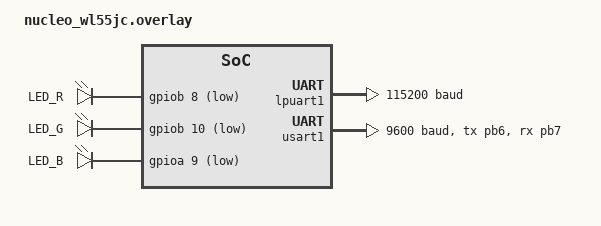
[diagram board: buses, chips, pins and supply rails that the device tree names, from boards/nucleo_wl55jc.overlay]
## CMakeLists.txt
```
cmake_minimum_required(VERSION 3.20.0)
find_package(Zephyr REQUIRED HINTS $ENV{ZEPHYR_BASE})
project(mma8451_test)

target_sources(app PRIVATE 
        src/main.c
        src/rgbChange.c
        src/gpsToHuman.c
        measures/rgb.c
        measures/accelerometer.c
        measures/temperature.c
        measures/gps.c
        measures/soil.c
        measures/brightness.c
        measures/distance.c
        )
```

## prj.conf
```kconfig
CONFIG_I2C=y
CONFIG_ADC=y
CONFIG_SERIAL=y
CONFIG_PRINTK=y
CONFIG_ADC_STM32=y
CONFIG_STDOUT_CONSOLE=y
CONFIG_TIMING_FUNCTIONS=y
CONFIG_MAIN_STACK_SIZE=2048
CONFIG_CBPRINTF_FP_SUPPORT=y
CONFIG_UART_INTERRUPT_DRIVEN=y
```

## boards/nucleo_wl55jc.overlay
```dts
/ {
    zephyr,console = &lpuart1;
    zephyr,shell-uart = &lpuart1;
    zephyr,uart-mcumgr = &lpuart1;

    /* ===== RGB LED (GPIO-based, common-anode, ACTIVE_LOW) ===== */
    leds {
        compatible = "gpio-leds";

        /* RED: CN9.D5 = PB8 */
        led_r: led_r {
            gpios = <&gpiob 8 GPIO_ACTIVE_LOW>;
            label = "LED_R";
        };

        /* GREEN: CN9.D6 = PB10 */
        led_g: led_g {
            gpios = <&gpiob 10 GPIO_ACTIVE_LOW>;
            label = "LED_G";
        };

        /* BLUE: CN5.D9 = PA9 */
        led_b: led_b {
            gpios = <&gpioa 9 GPIO_ACTIVE_LOW>;
            label = "LED_B";
        };
    };

    /* Aliases for C code */
    aliases {
        ledr = &led_r;
        ledg = &led_g;
        ledb = &led_b;
    };
};

/* ===== Console UART ===== */
&lpuart1 {
    status = "okay";
    current-speed = <115200>;
};

/* ===== GPS UART ===== */
&usart1 {
    status = "okay";
    current-speed = <9600>;
    pinctrl-0 = <&usart1_tx_pb6 &usart1_rx_pb7>;
    pinctrl-names = "default";
};
```

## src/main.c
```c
#include "connector.h"
#define nucleoLedB DT_ALIAS(led2)
#define nucleoLedG DT_ALIAS(led1)
#define nucleoLedR DT_ALIAS(led0)

// ===================   BUTTON   ===================

bool buttonWasPressed = false;
const struct gpio_dt_spec button = GPIO_DT_SPEC_GET_OR(DT_ALIAS(sw1),gpios, {0});
struct gpio_callback button_cb_data;

// =================== BUTTON END ===================


    // ===================   RGB_LEDS   ===================

const struct gpio_dt_spec led_r = GPIO_DT_SPEC_GET(DT_ALIAS(ledr), gpios);
const struct gpio_dt_spec led_g = GPIO_DT_SPEC_GET(DT_ALIAS(ledg), gpios);
const struct gpio_dt_spec led_b = GPIO_DT_SPEC_GET(DT_ALIAS(ledb), gpios);

    // =================== RGB_LEDS END ===================


// ===================   COMMUNICATION   ===================

const struct device *i2c;
const struct device *uart;
const struct device *adc;
const struct device *port;
struct measDataQueue gpsMsg;

// =================== COMMUNICATION END ===================

    // ===================   SENSOR VALUES   ===================

float axisX;
float axisY;
float axisZ;
float lightValue;
uint16_t clear;
uint16_t red;
uint16_t blue;
uint16_t green;
float soilValue;
float tempValue;
float humValue;
int16_t soilRawVal;
int16_t brightnessRawVal;
uint32_t distanceVal;

    // =================== SENSOR VALUES END ===================

// ===================   LIMITS   ===================

const float tempLimits[2]  = {-10.0f, 50.0f};
const float humLimits[2]   = {25.0f, 75.0f};
const float lightLimits[2] = {3.0f, 15.0f};
const float soilLimits[2]  = {70.2f,95.0f};
const float rgbLimit[3][2] = {
    {2500.0f,4500.0f},   //r
    {3500.0f,5500.0f},   //g
    {800.0f,2800.0f}    //b
    // such values when clear is ≈ 10.500
};
const float accelerometerLimit[3][2] = {
    {0.0f,1.0f},    //x
    {8.5f,10.5f},   //y
    {0.0f,2.0f}     //z
};

// =================== LIMITS END ===================

    // =================== NORMAL MODE ===================
struct {
    float minimumVal;
    float sumForMean;
    float meanVal;
    float maximumVal;
} tempNormalMode = { 0 };

struct {
    float minimumVal;
    float sumForMean;
    float meanVal;
    float maximumVal;
} humidityNormalMode = { 0 };

struct {
    float minimumVal;
    float sumForMean;
    float meanVal;
    float maximumVal;
} lightNormalMode = { 0 };

struct {
    float minimumVal;
    float sumForMean;
    float meanVal;
    float maximumVal;
} soilNormalMode = { 0 };

struct {
    float xMaximum;
    float xMinimum;
    float yMaximum;
    float yMinimum;
    float zMaximum;
    float zMinimum;
} accNormalMode = { 0 };

int rgbDominant[3] = {0};


    // =================== NORMAL MODE FINISHED ===================


struct adc_channel_cfg soilCfg;
struct adc_sequence soilSeq;
struct adc_channel_cfg brightnessCfg;
struct adc_sequence brightnessSeq;


enum Mode {TEST, NORMAL, ADVANCED};
enum Mode mode = TEST;
int modeCount=1;

bool permission = true;
bool newStart = true;

K_MSGQ_DEFINE(messageQueue, sizeof(struct measDataQueue), 8, 4);

int soilError;
int lightError;
uint8_t whoAmI;
uint8_t reg = 0x92;

void rgbLedInit() {

    gpio_pin_configure_dt(&led_r, GPIO_OUTPUT_INACTIVE);
    gpio_pin_configure_dt(&led_g, GPIO_OUTPUT_INACTIVE);
    gpio_pin_configure_dt(&led_b, GPIO_OUTPUT_INACTIVE);
}

void i2cInit() {

    i2c = DEVICE_DT_GET(DT_NODELABEL(i2c2));
}

void uartInit() {

    uart = DEVICE_DT_GET(DT_NODELABEL(usart1));
}

void adcInit() {
    
    soilRawVal = 0;

    adc = DEVICE_DT_GET(DT_NODELABEL(adc1));


     soilCfg = (struct adc_channel_cfg){
        .gain             = ADC_GAIN_1,
        .reference        = ADC_REF_INTERNAL,
        .acquisition_time = ADC_ACQ_TIME_DEFAULT,
        .channel_id       = soilAdcChannel,
        .differential     = 0,
    };

    soilError = adc_channel_setup(adc, &soilCfg);


    soilSeq = (struct adc_sequence){
    .channels    = BIT(soilAdcChannel),
    .buffer      = &soilRawVal,
    .buffer_size = sizeof(soilRawVal),
    .resolution  = adcRes,          
    };


    brightnessRawVal = 0;

    brightnessCfg = (struct adc_channel_cfg){
        .gain             = ADC_GAIN_1,
        .reference        = ADC_REF_INTERNAL,
        .acquisition_time = ADC_ACQ_TIME_DEFAULT,
        .channel_id       = brightAdcChannel,
        .differential     = 0,
    };

    lightError = adc_channel_setup(adc, &brightnessCfg);


    brightnessSeq = (struct adc_sequence){
        .channels    = BIT(brightAdcChannel),
        .buffer      = &brightnessRawVal,
        .buffer_size = sizeof(brightnessRawVal),
        .resolution  = adcRes,
    };
}

uint8_t registers[2];
void registersInput(uint8_t first, uint8_t second) {
    
    registers[0] = first;
    registers[1] = second;
}

void rgbInit(){
    
    registersInput(0x80 | 0x00, 0x01);      // COMMAND BIT | ENABLE & PON
    i2c_write(i2c,registers,sizeof(registers),rgbAddr);
    k_msleep(3);

    registersInput(0x80 | 0x00, 0x3);       // COMMAND BIT | ENABLE & PON | AEN
    i2c_write(i2c,registers,sizeof(registers),rgbAddr);
    
    registersInput(0x80 | 0x01, 0xD5);      // COMMAND BIT | ATIME  & 101ms
    i2c_write(i2c,registers,sizeof(registers),rgbAddr);
}

void accelerometerInit(){
    
    registersInput(0x2A, 0x01);     //CTRL_REG1 & ACTIVE MODE
    i2c_write(i2c,registers,sizeof(registers),accAddr);

    registersInput(0x0E, 0x00);     //DYNAMIC RANGE & ±2g
    i2c_write(i2c,registers,sizeof(registers),accAddr);
}

void distanceInit() {

    // GPIOA from devicetree
    port = DEVICE_DT_GET(DT_NODELABEL(gpioa));
    if (!device_is_ready(port)) {
        printk("GPIOA not ready!\n");
        return;
    }

    // TRIG: PA5
    if (gpio_pin_configure(port, 5 /*PA5*/, GPIO_OUTPUT_INACTIVE)) {
        printk("Cannot configure TRIG\n");
        return;
    }

    // ECHO: PA6
    if (gpio_pin_configure(port, 6 /*PA6*/, GPIO_INPUT)) {
        printk("Cannot configure ECHO\n");
        return;
    }
}

void alertRaise(int sensor) {

    switch (sensor) {
        case 1:
            printk("!!!light alert!!!\n"); 
            break;
        case 2:
            printk("!!!rgb alert!!!\n");
            break;
        case 3:
            printk("!!!accelerometer alert!!!\n");
            break;
        case 4:
            printk("!!!temperature alert!!!\n");
            break;
        case 5:
            printk("!!!humidity alert!!!\n");
            break;
        case 6:
            printk("!!!soil alert!!!\n");
            break;
    }
    rgbChange(sensor);
    k_msleep(250);
    rgbChange(0);
}

void manageData () {

    if (mode == TEST){
        if (red > green && red  >  blue)  rgbChange(1); //red
        if (green > red && green > blue)  rgbChange(2); //green
        if (blue > red  && blue  > green) rgbChange(3); //blue

    }

    else if (mode == NORMAL || mode == ADVANCED) {

        if (newStart) {
            soilNormalMode.maximumVal = soilValue;
            soilNormalMode.minimumVal = soilValue;
            
            lightNormalMode.maximumVal = lightValue;
            lightNormalMode.minimumVal = lightValue;

            accNormalMode.xMaximum = axisX;
            accNormalMode.xMinimum = axisX;
            accNormalMode.yMaximum = axisY;
            accNormalMode.yMinimum = axisY;
            
            accNormalMode.zMaximum = axisZ;
            accNormalMode.zMinimum = axisZ;

            tempNormalMode.maximumVal = tempValue;
            tempNormalMode.minimumVal = tempValue;
            humidityNormalMode.maximumVal = humValue;
            humidityNormalMode.minimumVal = humValue;

        }
        else {
            if      (soilNormalMode.maximumVal < soilValue) soilNormalMode.maximumVal = soilValue;
            else if (soilNormalMode.minimumVal > soilValue) soilNormalMode.minimumVal = soilValue;
            
            if      (lightNormalMode.maximumVal < lightValue) lightNormalMode.maximumVal = lightValue;
            else if (lightNormalMode.minimumVal > lightValue) lightNormalMode.minimumVal = lightValue;

            if      (tempNormalMode.maximumVal < tempValue) tempNormalMode.maximumVal = tempValue;
            else if (tempNormalMode.minimumVal > tempValue) tempNormalMode.minimumVal = tempValue;

            if      (humidityNormalMode.maximumVal < humValue) humidityNormalMode.maximumVal = humValue;
            else if (humidityNormalMode.minimumVal > humValue) humidityNormalMode.minimumVal = humValue;

            if      (accNormalMode.xMaximum < axisX) accNormalMode.xMaximum = axisX;
            else if (accNormalMode.xMinimum > axisX) accNormalMode.xMinimum = axisX;

            if      (accNormalMode.yMaximum < axisY) accNormalMode.yMaximum = axisY;
            else if (accNormalMode.yMinimum > axisY) accNormalMode.yMinimum = axisY;

            if      (accNormalMode.zMaximum < axisZ) accNormalMode.zMaximum = axisZ;
            else if (accNormalMode.zMinimum > axisZ) accNormalMode.zMinimum = axisZ;
        }

        soilNormalMode.sumForMean     += soilValue;
        lightNormalMode.sumForMean    += lightValue;
        tempNormalMode.sumForMean     += tempValue;
        humidityNormalMode.sumForMean += humValue;

        if (red > green && red  >  blue)  rgbDominant[0] +=1; //red
        if (green > red && green > blue)  rgbDominant[1] +=1; //green
        if (blue > red  && blue  > green) rgbDominant[2] +=1; //blue
    }


        printk("SOIL MOISTURE: %.1f%%\n",soilValue);
        printk("Light: %.1f%%\n",lightValue);
        k_msgq_get(&messageQueue,&gpsMsg,K_NO_WAIT);
        if (mode == TEST) gpsToHuman(1); //print is there
        else gpsToHuman(2);
        printk("COLOR SENSOR: Clear: %d Red: %d Green: %d Blue: %d\n", clear,red,green,blue);
        printk("ACCELEROMETERS: X_axis: %.2fm/s², Y_axis: %.2fm/s², Z_axis: %.2fm/s²\n",axisX,axisY,axisZ);
        printk("TEMP/HUM Temperature: %.1f°C,\tRelative Humidity: %.1f%%\n",tempValue,humValue);
        newStart = false;

        if (mode == ADVANCED) {
            printk("Distance: %ucm\n",distanceVal);

        }
        printk("\n\n");
}

void manageAlert(){

    if (lightValue < lightLimits[0] || lightValue > lightLimits[1]) alertRaise(1);
    
    if (red   < rgbLimit[0][0] || red   > rgbLimit[0][1] ||
        green < rgbLimit[1][0] || green > rgbLimit[1][1] ||
        blue  < rgbLimit[2][0] || blue  > rgbLimit[2][1] ) alertRaise(2);

    if (fabsf(axisX) < accelerometerLimit[0][0] || fabsf(axisX) > accelerometerLimit[0][1] ||
        fabsf(axisY) < accelerometerLimit[1][0] || fabsf(axisY) > accelerometerLimit[1][1] ||
        fabsf(axisZ) < accelerometerLimit[2][0] || fabsf(axisZ) > accelerometerLimit[2][1] ) alertRaise(3);

    if (tempValue < tempLimits[0] || tempValue > tempLimits[1]) alertRaise(4);

    if (humValue < humLimits[0] || humValue > humLimits[1]) alertRaise(5);

    if (soilValue < soilLimits[0] || soilValue > soilLimits[1]) alertRaise(6);
}

K_THREAD_DEFINE(gpsThread,512,gpsMeasure,NULL,NULL,NULL,1,0,0);

void measures(){

    brightnessMeasure();

    rgbMeasure();

    accelerometerMeasure();

    temperatureMeasure();

    soilMeasure();

    if (mode == ADVANCED) distanceMeasure();

    while (permission) k_msleep(1);
    manageData();
    if (mode == NORMAL || mode == ADVANCED) manageAlert();
    permission = true;          
}

void testSensors() {

    if (!device_is_ready(led_r.port) ||
    !device_is_ready(led_g.port) ||
    !device_is_ready(led_b.port)) printk("LED ports not ready\n");

    if (!device_is_ready(i2c)) printk("i2c not ready\n");
    

    if (!device_is_ready(uart))printk("uart not ready\n");
    

    if (!device_is_ready(adc)) printk("adc not ready\n");

    whoAmI = 0; 
    i2c_write_read(i2c,rgbAddr,&reg,1,&whoAmI,1);
    if (whoAmI != 0x44) printk("RGB sensor read  error %x\n",whoAmI);
    
    whoAmI = 0; 
    i2c_reg_read_byte(i2c, accAddr, 0x0D, &whoAmI);
    if (whoAmI != 0x1A) printk("accelerometer sensor read error\n");

    if (i2c_reg_read_byte(i2c, tempAndHumidAddr, 0xE7, &whoAmI) != 0) printk("temp & hum read error\n");
}

void everyHourNormalMode (int quantity) {

    printk("\n\nHourly update:\n");

    // NM3
    tempNormalMode.meanVal = tempNormalMode.sumForMean / quantity;
    humidityNormalMode.meanVal = humidityNormalMode.sumForMean / quantity;
    lightNormalMode.meanVal = lightNormalMode.sumForMean / quantity;
    soilNormalMode.meanVal = soilNormalMode.sumForMean / quantity;

    printk("\ttemperature minimum - %.1f°C\n\ttemperature mean - %.1f°C\n\ttemperature maximum - %.1f°C\n\n",tempNormalMode.minimumVal,tempNormalMode.meanVal,tempNormalMode.maximumVal);
    printk("\thumidity minimum - %.1f%%\n\thumidity mean - %.1f%%\n\thumidity maximum - %.1f%%\n\n",humidityNormalMode.minimumVal,humidityNormalMode.meanVal,humidityNormalMode.maximumVal);
    printk("\tlight minimum - %.1f%%\n\tlight mean - %.1f%%\n\tlight maximum - %.1f%%\n\n",lightNormalMode.minimumVal,lightNormalMode.meanVal,lightNormalMode.maximumVal);
    printk("\tsoil minimum - %.1f%%\n\tsoil mean - %.1f%%\n\tsoil maximum - %.1f%%\n",soilNormalMode.minimumVal,soilNormalMode.meanVal,soilNormalMode.maximumVal);


    tempNormalMode.sumForMean = 0;
    humidityNormalMode.sumForMean = 0;
    lightNormalMode.sumForMean = 0;
    soilNormalMode.sumForMean = 0;

    // NM4
    if (rgbDominant[0] > rgbDominant[1] && rgbDominant[0] > rgbDominant[2]) printk("RED was dominant color\n");
    if (rgbDominant[1] > rgbDominant[0] && rgbDominant[1] > rgbDominant[2]) printk("GREEN was dominant color\n");
    if (rgbDominant[2] > rgbDominant[1] && rgbDominant[2] > rgbDominant[0]) printk("BLUE was dominant color\n");
    
    rgbDominant[0] = 0;
    rgbDominant[1] = 0;
    rgbDominant[2] = 0;

    //NM5
    printk("Maximum values of X_axis - %.2fm/s²   Y_axis - %.2fm/s²   Z_axis - %.2fm/s²\n\n",accNormalMode.xMaximum,accNormalMode.yMaximum,accNormalMode.zMaximum);
    printk("Minimum values of X_axis - %.2fm/s²   Y_axis - %.2fm/s²   Z_axis - %.2fm/s²\n",accNormalMode.xMinimum,accNormalMode.yMinimum,accNormalMode.zMinimum);
    newStart = true;
}

void buttonPressed() {

    buttonWasPressed = true;
    modeCount++;
    if (modeCount >= 4) modeCount = 1; 
    if (modeCount==1) mode = TEST;
    else if (modeCount==2) mode = NORMAL;
    else mode = ADVANCED;
}

void buttonInit() {

    gpio_pin_configure_dt(&button,GPIO_INPUT);
    gpio_pin_interrupt_configure_dt(&button,GPIO_INT_EDGE_TO_ACTIVE);
    gpio_init_callback(&button_cb_data, buttonPressed, BIT(button.pin));
    gpio_add_callback(button.port,&button_cb_data);
}

void main(void) {
    rgbLedInit();
    i2cInit();
    uartInit();
    adcInit(); 
    rgbInit();
    accelerometerInit();
    distanceInit();
    buttonInit();

    static const struct gpio_dt_spec blueLed = GPIO_DT_SPEC_GET(nucleoLedB, gpios);
    gpio_pin_configure_dt(&blueLed, GPIO_OUTPUT_INACTIVE);

    static const struct gpio_dt_spec greenLed = GPIO_DT_SPEC_GET(nucleoLedG, gpios);
    gpio_pin_configure_dt(&greenLed, GPIO_OUTPUT_INACTIVE);

    static const struct gpio_dt_spec redLed = GPIO_DT_SPEC_GET(nucleoLedR, gpios);
    gpio_pin_configure_dt(&redLed, GPIO_OUTPUT_INACTIVE);

    while (true) {
        if (mode == TEST) {
            printk("\nTEST MODE\n");
            testSensors();
            gpio_pin_set_dt(&blueLed,1);
            gpio_pin_set_dt(&redLed,0);
            gpio_pin_set_dt(&greenLed,0);

            while (mode == TEST) {
                measures();
                for (int i = 0; i<2000; i++) {
                    if (buttonWasPressed) {
                        buttonWasPressed = false; 
                        break;
                    }
                    k_msleep(1);
                }
            }
        }

        if (mode == NORMAL) {
            rgbChange(0);
            printk("\nNORMAL MODE\n");
            newStart = true;
            gpio_pin_set_dt(&blueLed,0);
            gpio_pin_set_dt(&redLed,0);
            gpio_pin_set_dt(&greenLed,1);
            int quantity = 0;
            int64_t startRegMeasure = k_uptime_get();
            int64_t startHourTimer = k_uptime_get();
            while (mode == NORMAL) {
                measures();
                quantity++;
                if (k_uptime_get() - startHourTimer >= 3600 * MSEC_PER_SEC) {
                    everyHourNormalMode(quantity);
                    quantity = 0;
                    startHourTimer = k_uptime_get();
                } 
                while (k_uptime_get() - startRegMeasure < 30 * MSEC_PER_SEC) {
                    if (buttonWasPressed) {
                        buttonWasPressed = false; 
                        break;  
                    }
                    k_msleep(1);
                }
                startRegMeasure = k_uptime_get();
            }
        }

        if (mode == ADVANCED) {
            rgbChange(0);
            printk("\nADVANCED MODE\n");
            gpio_pin_set_dt(&blueLed,0);
            gpio_pin_set_dt(&redLed,1);
            gpio_pin_set_dt(&greenLed,0);
            int quantity = 0;
            int64_t startRegMeasure = k_uptime_get();
            int64_t startHourTimer = k_uptime_get();
            while (mode == ADVANCED) {
                measures();
                quantity++;
                if (k_uptime_get() - startHourTimer >= 3600 * MSEC_PER_SEC) {
                    everyHourNormalMode(quantity);
                    quantity = 0;
                    startHourTimer = k_uptime_get();
                    } 
                while (k_uptime_get() - startRegMeasure < 30 * MSEC_PER_SEC) {
                    distanceMeasure();
                    if (distanceVal == 99) {
                        gpio_pin_toggle_dt(&redLed);
                        k_msleep(1000);
                    }
                    else {
                        gpio_pin_set_dt(&redLed,1);
                        k_msleep(1000);
                    }
                    if (buttonWasPressed) {
                        buttonWasPressed = false; 
                        break;
                        }
                    k_msleep(1);
                }
                startRegMeasure = k_uptime_get();
            }
        }
    }
}
```

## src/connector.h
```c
#include <stdint.h>
#include <zephyr/drivers/i2c.h>
#include <zephyr/sys/printk.h>
#include <zephyr/kernel.h>
#include <zephyr/drivers/gpio.h>
#include <zephyr/device.h>
#include <zephyr/kernel/stats.h>
#include <zephyr/arch/arch_interface.h>
#include <zephyr/drivers/uart.h>
#include <zephyr/drivers/adc.h>
#include <math.h>
#include <ctype.h>
#include <stdlib.h>
#include <string.h>

#define rgbAddr 0x29  
#define accAddr 0x1D
#define tempAndHumidAddr 0x40
#define adcRes 12
#define soilAdcChannel 0
#define brightAdcChannel 5 

extern const struct gpio_dt_spec led_r;
extern const struct gpio_dt_spec led_g;
extern const struct gpio_dt_spec led_b;

extern const struct device *adc;
extern const struct device *i2c;
extern const struct device *uart;
extern const struct device *port;

extern struct adc_channel_cfg soilCfg;
extern struct adc_sequence soilSeq;
extern int16_t soilRawVal;

extern struct adc_channel_cfg brightnessCfg;
extern struct adc_sequence brightnessSeq;
extern int16_t brightnessRawVal;

extern bool permission;

struct measDataQueue {
    char gpsQ[128];
};
extern struct measDataQueue gpsMsg;
extern struct k_msgq messageQueue;

void rgbChange(int);
void rgbMeasure(void);
void accelerometerMeasure(void);
void temperatureMeasure(void);
void gpsMeasure(void);
void soilMeasure(void);
void brightnessMeasure(void);
void gpsToHuman(int main);

extern float axisX;
extern float axisY;
extern float axisZ;
extern float lightValue;
extern uint16_t clear;
extern uint16_t red;
extern uint16_t green;
extern uint16_t blue;
extern float soilValue;
extern float tempValue;
extern float humValue;
extern uint32_t distanceVal;
```

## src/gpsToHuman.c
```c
#include "connector.h"
#include <stdlib.h>
#include <string.h>

static double nmea_deg_to_dec(const char *s) {

    if (!s || !*s) return 0.0;
    double v = strtod(s, NULL);
    int deg = (int)(v / 100.0);
    double minutes = v - deg * 100.0;
    return deg + minutes / 60.0;
}

void gpsToHuman(int mode) {

    const char *raw = gpsMsg.gpsQ;

    if (!raw[0]) {
        printk("GPS: NO SATELLITE CONNECTION\n");
        return;
    }

    if (strncmp(raw, "$GPGGA", 6) != 0) {
        printk("GPS raw: %s\n", raw);
        return;
    }

    char buf[128];
    strncpy(buf, raw, sizeof(buf));
    buf[sizeof(buf) - 1] = '\0';

    char *f[15] = {0};
    int idx = 0;
    char *copy = buf;
    char *token;
    while (idx < 15 && (token = strsep(&copy, ",")) != NULL) {
        f[idx++] = token;
    }

    if (idx < 10) {
        printk("GPS: incomplete data (%s)\n", raw);
        return;
    }

    const char *utc   = f[1];
    const char *lat_s = f[2];
    const char *lat_h = f[3];
    const char *lon_s = f[4];
    const char *lon_h = f[5];
    const char *fix   = f[6];
    const char *sats  = f[7];
    const char *alt   = f[9];

    int sats_num = (sats && *sats) ? atoi(sats) : 0;
    bool has_fix = (fix && *fix && fix[0] != '0');
    if (!has_fix || sats_num == 0) {
        printk("GPS: NO SATELLITE CONNECTION\n");
        return;
    }

    double lat = nmea_deg_to_dec(lat_s);
    if (lat_h && *lat_h == 'S') lat = -lat;
    double lon = nmea_deg_to_dec(lon_s);
    if (lon_h && *lon_h == 'W') lon = -lon;

    char utc_time[9] = "??:??:??";
    char shifted_time[9] = "??:??:??";
    const char *time_to_use = utc_time;

    if (utc && strlen(utc) >= 6 &&
        isdigit((unsigned char)utc[0]) && isdigit((unsigned char)utc[1]) &&
        isdigit((unsigned char)utc[2]) && isdigit((unsigned char)utc[3]) &&
        isdigit((unsigned char)utc[4]) && isdigit((unsigned char)utc[5])) {

        int hh = (utc[0] - '0') * 10 + (utc[1] - '0');
        int mm = (utc[2] - '0') * 10 + (utc[3] - '0');
        int ss = (utc[4] - '0') * 10 + (utc[5] - '0');

        snprintf(utc_time, sizeof(utc_time), "%02d:%02d:%02d", hh, mm, ss);

        if (mode == 1) {
            time_to_use = utc_time;
        } else {
            hh = (hh + 1) % 24;
            snprintf(shifted_time, sizeof(shifted_time), "%02d:%02d:%02d", hh, mm, ss);
            time_to_use = shifted_time;
        }
    }
    if (mode == 1)    printk("GPS: #Sats: %s Lat(UTC): %.6f %c Long(UTC): %.6f %c Altitude: %s m GPS time: %s\n",
                        (sats && *sats) ? sats : "?",
                        fabs(lat), lat >= 0 ? 'N' : 'S',
                        fabs(lon), lon >= 0 ? 'E' : 'W',
                        (alt && *alt) ? alt : "?",
                        time_to_use);

    else                printk("GPS: #Sats: %s Lat(UTC): %.6f %c Long(UTC): %.6f %c Altitude: %s m GPS time to Local: %s\n",
                        (sats && *sats) ? sats : "?",
                        fabs(lat), lat >= 0 ? 'N' : 'S',
                        fabs(lon), lon >= 0 ? 'E' : 'W',
                        (alt && *alt) ? alt : "?",
                        time_to_use);
}
```

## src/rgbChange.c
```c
#include "connector.h"

void rgbChange (int color) {
    
    gpio_pin_set_dt(&led_r, 0);
    gpio_pin_set_dt(&led_g, 0);
    gpio_pin_set_dt(&led_b, 0);

    switch (color) {
    case 0: {gpio_pin_set_dt(&led_r, 0);
             gpio_pin_set_dt(&led_r, 0);
             gpio_pin_set_dt(&led_r, 0); 
             break;}
    case 1: gpio_pin_set_dt(&led_r, 1); break;
    case 2: gpio_pin_set_dt(&led_g, 1); break;
    case 3: gpio_pin_set_dt(&led_b, 1); break;
    case 4: gpio_pin_set_dt(&led_r, 1); gpio_pin_set_dt(&led_b, 1); break;
    case 5: gpio_pin_set_dt(&led_g, 1); gpio_pin_set_dt(&led_b, 1); break;
    case 6: gpio_pin_set_dt(&led_r, 1); gpio_pin_set_dt(&led_g, 1); break;
    }
}
```
